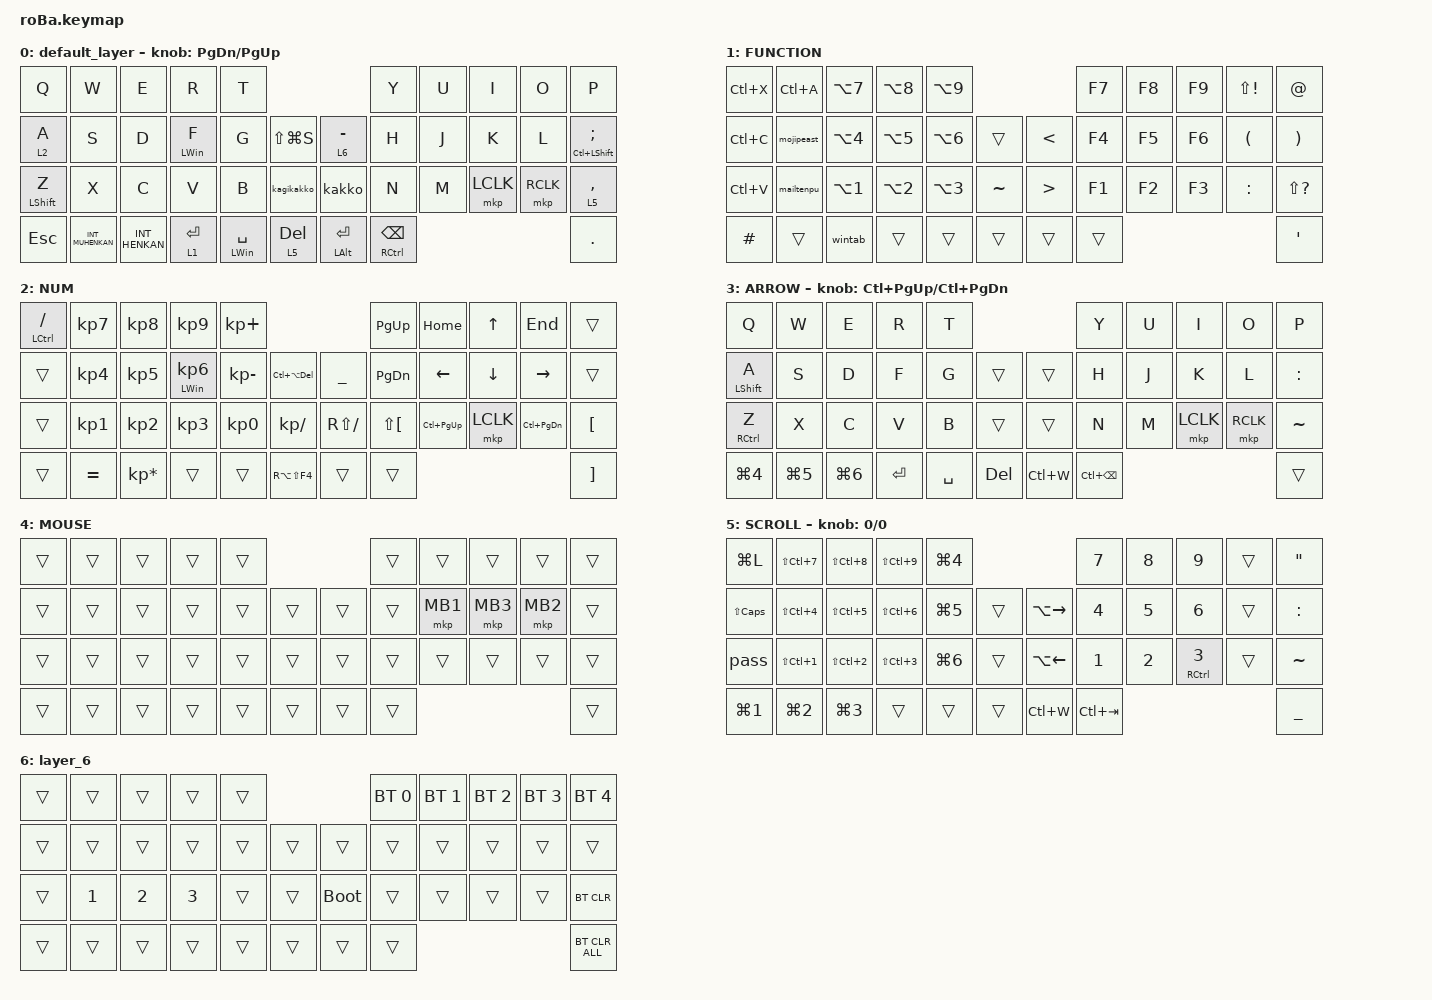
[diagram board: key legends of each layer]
#include <behaviors.dtsi>
#include <dt-bindings/zmk/bt.h>
#include <dt-bindings/zmk/keys.h>
#include <dt-bindings/zmk/pointing.h>

#define ZMK_MOUSE_DEFAULT_SCRL_VAL 100
#define MOUSE 4
#define SCROLL 5
#define NUM 6

&mt {
    flavor = "balanced";
    quick-tap-ms = <0>;
};

/ {
    combos {
        compatible = "zmk,combos";

        tab {
            bindings = <&kp LS(TAB)>;
            key-positions = <11 12>;
        };

        shift_tab {
            bindings = <&kp TAB>;
            key-positions = <12 13>;
        };

        muhennkann {
            bindings = <&kp ESC>;
            key-positions = <0 1>;
        };

        comma {
            bindings = <&kp COMMA>;
            key-positions = <24 23>;
        };

        MAINUS {
            bindings = <&kp MINUS>;
            key-positions = <8 7>;
        };

        SLASHA {
            bindings = <&kp KP_SLASH>;
            key-positions = <1 2>;
        };

        tab+gui {
            bindings = <&kp LG(TAB)>;
            key-positions = <2 3>;
        };

        period {
            bindings = <&kp PERIOD>;
            key-positions = <24 25>;
        };
    };

    macros {
        kakko: to_layer_0 {
            compatible = "zmk,behavior-macro";
            #binding-cells = <0>;
            bindings = <&kp INT_MUHENKAN &kp LEFT_PARENTHESIS &kp RIGHT_PARENTHESIS &kp INTERNATIONAL_4 &kp LEFT>;
            label = "TO_LAYER_0";
        };

        pass: new_macro {
            compatible = "zmk,behavior-macro";
            #binding-cells = <0>;
            bindings = <&kp INTERNATIONAL_5 &kp K &kp E &kp N &kp T &kp O &kp N0 &kp NUMBER_1 &kp NUMBER_3 &kp N0 &kp ENTER>;
            label = "NEW_MACRO";
        };

        kagikakko: kagikakko {
            compatible = "zmk,behavior-macro";
            #binding-cells = <0>;
            bindings = <&kp INT_HENKAN &kp LEFT_BRACKET &kp ENTER &kp RIGHT_BRACKET &kp ENTER &kp LEFT>;
            label = "KAGIKAKKO";
        };

        mojipeast: mojipeast {
            compatible = "zmk,behavior-macro";
            #binding-cells = <0>;
            bindings = <&kp LC(LA(V)) &kp V &kp ENTER &kp ESC>;
            label = "MOJIPEAST";
        };

        mailtenpu: mailtenpu {
            compatible = "zmk,behavior-macro";
            #binding-cells = <0>;
            bindings = <&kp LEFT_ALT &kp H &kp A &kp F>;
            label = "MAILTENPU";
        };

        wintab: wintab {
            compatible = "zmk,behavior-macro";
            #binding-cells = <0>;
            bindings = <&kp LA(TAB)>;
            label = "WINTAB";
        };
    };

    behaviors {
        lt_to_layer_0: lt_to_layer_0 {
            compatible = "zmk,behavior-hold-tap";
            label = "LAYER_TAP_TO_0";
            bindings = <&mo>, <&kakko>;

            #binding-cells = <2>;
            tapping-term-ms = <200>;
        };
    };

    behaviors {
    };

    keymap {
        compatible = "zmk,keymap";

        default_layer {
            bindings = <
&kp Q             &kp W             &kp E           &kp R           &kp T                                                      &kp Y                &kp U  &kp I      &kp O      &kp P
&lt 2 A           &kp S             &kp D           &mt LEFT_WIN F  &kp G               &kp LS(LG(S))      &lt 6 MINUS         &kp H                &kp J  &kp K      &kp L      &mt LC(LSHFT) SEMICOLON
&mt LEFT_SHIFT Z  &kp X             &kp C           &kp V           &kp B               &kagikakko         &kakko              &kp N                &kp M  &mkp LCLK  &mkp RCLK  &lt 5 COMMA
&kp ESC           &kp INT_MUHENKAN  &kp INT_HENKAN  &lt 1 ENTER     &mt LEFT_WIN SPACE  &lt 5 DELETE       &mt LEFT_ALT ENTER  &mt RCTRL BACKSPACE                               &kp PERIOD
            >;

            sensor-bindings = <&inc_dec_kp PAGE_DOWN PAGE_UP>;
        };

        FUNCTION {
            bindings = <
&kp LC(X)  &kp LC(A)   &kp LA(N7)        &kp LA(N8)        &kp LA(N9)                                         &kp F7  &kp F8  &kp F9  &kp LS(EXCLAMATION)   &kp AT_SIGN
&kp LC(C)  &mojipeast  &kp LA(NUMBER_4)  &kp LA(N5)        &kp LA(N6)        &trans         &kp LESS_THAN     &kp F4  &kp F5  &kp F6  &kp LEFT_PARENTHESIS  &kp RIGHT_PARENTHESIS
&kp LC(V)  &mailtenpu  &kp LA(NUMBER_1)  &kp LA(NUMBER_2)  &kp LA(NUMBER_3)  &kp TILDE      &kp GREATER_THAN  &kp F1  &kp F2  &kp F3  &kp COLON             &kp LS(QUESTION)
&kp HASH   &trans      &wintab           &trans            &trans            &trans         &trans            &trans                                        &kp SQT
            >;
        };

        NUM {
            bindings = <
&mt LCTRL SLASH  &kp KP_NUMBER_7  &kp KP_NUMBER_8  &kp KP_NUMBER_9           &kp KP_PLUS                                              &kp PAGE_UP           &kp HOME         &kp UP          &kp END            &trans
&trans           &kp KP_NUMBER_4  &kp KP_NUMBER_5  &mt LEFT_WIN KP_NUMBER_6  &kp KP_MINUS     &kp LC(LA(DELETE))      &kp UNDERSCORE  &kp PAGE_DOWN         &kp LEFT         &kp DOWN_ARROW  &kp RIGHT          &trans
&trans           &kp KP_NUMBER_1  &kp KP_NUMBER_2  &kp KP_NUMBER_3           &kp KP_NUMBER_0  &kp KP_SLASH            &kp RS(SLASH)   &kp LS(LEFT_BRACKET)  &kp LC(PAGE_UP)  &mkp LCLK       &kp LC(PAGE_DOWN)  &kp LEFT_BRACKET
&trans           &kp EQUAL        &kp KP_ASTERISK  &trans                    &trans           &kp RA(LS(F4))          &trans          &trans                                                                    &kp RIGHT_BRACKET
            >;
        };

        ARROW {
            bindings = <
&kp Q             &kp W             &kp E             &kp R      &kp T                                 &kp Y              &kp U  &kp I      &kp O      &kp P
&mt LEFT_SHIFT A  &kp S             &kp D             &kp F      &kp G      &trans          &trans     &kp H              &kp J  &kp K      &kp L      &kp COLON
&mt RCTRL Z       &kp X             &kp C             &kp V      &kp B      &trans          &trans     &kp N              &kp M  &mkp LCLK  &mkp RCLK  &kp TILDE
&kp LG(NUMBER_4)  &kp LG(NUMBER_5)  &kp LG(NUMBER_6)  &kp ENTER  &kp SPACE  &kp DELETE      &kp LC(W)  &kp LC(BACKSPACE)                               &trans
            >;

            sensor-bindings = <&inc_dec_kp LC(PAGE_UP) LC(PAGE_DOWN)>;
        };

        MOUSE {
            bindings = <
&trans  &trans  &trans  &trans  &trans                      &trans  &trans    &trans    &trans    &trans
&trans  &trans  &trans  &trans  &trans  &trans      &trans  &trans  &mkp MB1  &mkp MB3  &mkp MB2  &trans
&trans  &trans  &trans  &trans  &trans  &trans      &trans  &trans  &trans    &trans    &trans    &trans
&trans  &trans  &trans  &trans  &trans  &trans      &trans  &trans                                &trans
            >;
        };

        SCROLL {
            bindings = <
&kp LG(L)         &kp LS(LC(N7))        &kp LS(LC(N8))        &kp LS(LC(N9))        &kp LG(NUMBER_4)                             &kp N7       &kp N8        &kp N9              &trans  &kp DOUBLE_QUOTES
&kp LS(CAPSLOCK)  &kp LS(LC(NUMBER_4))  &kp LS(LC(N5))        &kp LS(LC(NUMBER_6))  &kp LG(N5)        &trans      &kp LA(RIGHT)  &kp N4       &kp N5        &kp N6              &trans  &kp COLON
&pass             &kp LS(LC(NUMBER_1))  &kp LS(LC(NUMBER_2))  &kp LS(LC(NUMBER_3))  &kp LG(NUMBER_6)  &trans      &kp LA(LEFT)   &kp N1       &kp NUMBER_2  &mt RCTRL NUMBER_3  &trans  &kp TILDE
&kp LG(NUMBER_1)  &kp LG(NUMBER_2)      &kp LG(NUMBER_3)      &trans                &trans            &trans      &kp LC(W)      &kp LC(TAB)                                            &kp UNDER
            >;

            sensor-bindings = <&inc_dec_kp 0 0>;
        };

        layer_6 {
            bindings = <
&trans  &trans        &trans        &trans        &trans                           &bt BT_SEL 0  &bt BT_SEL 1  &bt BT_SEL 2  &bt BT_SEL 3  &bt BT_SEL 4
&trans  &trans        &trans        &trans        &trans  &trans      &trans       &trans        &trans        &trans        &trans        &trans
&trans  &kp NUMBER_1  &kp NUMBER_2  &kp NUMBER_3  &trans  &trans      &bootloader  &trans        &trans        &trans        &trans        &bt BT_CLR
&trans  &trans        &trans        &trans        &trans  &trans      &trans       &trans                                                  &bt BT_CLR_ALL
            >;
        };
    };
};
